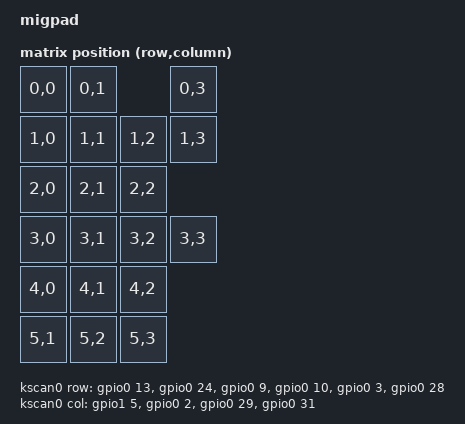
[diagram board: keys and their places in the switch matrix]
#include <dt-bindings/zmk/matrix_transform.h>
#include "migpad-layout.dtsi"
#include <dt-bindings/led/led.h>

/ {
    model = "migpad";
    compatible = "migpadperipherals,migpad";

    chosen {
        zmk,kscan = &kscan0;
        zmk,battery = &vbatt;
        zmk,underglow = &led_strip;
        zmk,physical-layout = &migpad_layout;
    };

    default_transform: keymap_transform_0 {
		compatible = "zmk,matrix-transform";
		columns = <4>;
		rows = <6>;
		map = <
         RC(0,0)  RC(0,1)           RC(0,3)
         RC(1,0)  RC(1,1)  RC(1,2)  RC(1,3)
         RC(2,0)  RC(2,1)  RC(2,2)
         RC(3,0)  RC(3,1)  RC(3,2)  RC(3,3)
         RC(4,0)  RC(4,1)  RC(4,2)
         RC(5,1)  RC(5,2)  RC(5,3)
		>;
	};

    kscan0: kscan {
	    compatible = "zmk,kscan-gpio-matrix";
	    wakeup-source;
        diode-direction = "col2row";
	    col-gpios
		  = <&gpio1  5 GPIO_ACTIVE_HIGH>
		  , <&gpio0  2 GPIO_ACTIVE_HIGH>
		  , <&gpio0 29 GPIO_ACTIVE_HIGH>
		  , <&gpio0 31 GPIO_ACTIVE_HIGH>
		  ;
	    row-gpios
			= <&gpio0 13 (GPIO_ACTIVE_HIGH | GPIO_PULL_DOWN)>
			, <&gpio0 24 (GPIO_ACTIVE_HIGH | GPIO_PULL_DOWN)>
			, <&gpio0  9 (GPIO_ACTIVE_HIGH | GPIO_PULL_DOWN)>
			, <&gpio0 10 (GPIO_ACTIVE_HIGH | GPIO_PULL_DOWN)>
			, <&gpio0  3 (GPIO_ACTIVE_HIGH | GPIO_PULL_DOWN)>
			, <&gpio0 28 (GPIO_ACTIVE_HIGH | GPIO_PULL_DOWN)>
		    ;
    };

ext-power {
    compatible = "zmk,ext-power-generic";
    control-gpios = <&gpio1 9 GPIO_ACTIVE_LOW>;
};

vbatt: vbatt {
    compatible = "zmk,battery-voltage-divider";
    io-channels = <&adc 6>;
    output-ohms = <2000000>;
    full-ohms = <(2000000 + 820000)>;
    };
};

&adc {
    status = "okay";
};

&pinctrl {
    spi1_default: spi1_default {
        group1 {
            psels = <NRF_PSEL(SPIM_MOSI, 0, 5)>;
        };
    };

    spi1_sleep: spi1_sleep {
        group1 {
            psels = <NRF_PSEL(SPIM_MOSI, 0, 5)>;
            low-power-enable;
        };
    };
};

&spi3 {
    compatible = "nordic,nrf-spim";
    status = "okay";

    pinctrl-0 = <&spi1_default>;
    pinctrl-1 = <&spi1_sleep>;
    pinctrl-names = "default", "sleep";

    led_strip: ws2812@0 {
        compatible = "worldsemi,ws2812-spi";

        /* SPI */
        reg = <0>; /* ignored, but necessary for SPI bindings */
        spi-max-frequency = <4000000>;

        /* WS2812 */
        chain-length = <20>; /* arbitrary; change at will */
        spi-one-frame = <0x70>;
        spi-zero-frame = <0x40>;

        color-mapping = <LED_COLOR_ID_GREEN LED_COLOR_ID_RED LED_COLOR_ID_BLUE>;
    };
};
